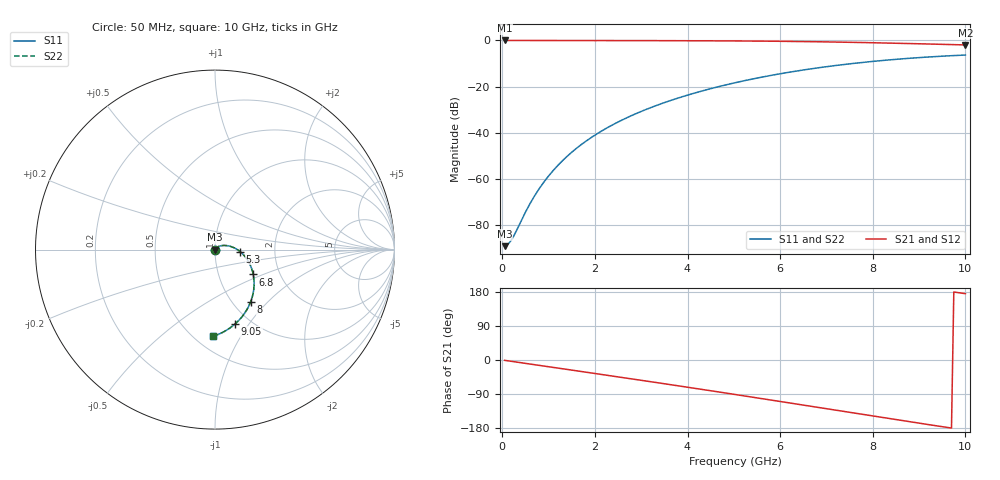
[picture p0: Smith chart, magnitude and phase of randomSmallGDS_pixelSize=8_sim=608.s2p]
! freq	dB(S11)	phase(S11)	dB(S12)	phase(S12)
!  dB(S21)	phase(S21)	dB(S22)	phase(S22)
!S-par simulation data
#  GHz  S  DB  R 50
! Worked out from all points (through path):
!   200 points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, 50 MHz to 10 GHz, reference 50 ohm
!   highest |S21| = 0.00 dB at 50 MHz (marker M1); lowest = -1.9 dB at 10 GHz (marker M2)
!   group delay of S21, straight-line fit = 51.8 ps
!   lowest |S11| = -89.0 dB at 50 MHz (marker M3), VSWR 1.00, Z = 50 + j0.000643 ohm
!   |S11| at or under -10 dB: start of sweep to 7.552 GHz
!   |S22| runs from -89.0 to -6.3 dB; largest |S21 - S12| = 0
!   S11 on the Smith chart (normalised r, x): 50 MHz: 1.00, +0.00; 5.3 GHz: 1.32, -0.03; 6.8 GHz: 1.47, -0.43; 8 GHz: 1.21, -0.80; 9.05 GHz: 0.85, -0.86; 10 GHz: 0.61, -0.77
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0.05  -88.99 10.4  -0.00 -0.9  -0.00 -0.9  -88.99 10.4
0.35  -80.45 64.9  -0.01 -6.3  -0.01 -6.3  -80.45 64.8
0.65  -68.79 77.9  -0.01 -11.6  -0.01 -11.6  -68.79 77.8
0.8  -64.03 78.1  -0.02 -14.3  -0.02 -14.3  -64.03 78.1
0.95  -59.89 77.0  -0.02 -16.9  -0.02 -16.9  -59.89 76.9
1.3  -52.02 71.9  -0.03 -23.1  -0.03 -23.1  -52.02 71.8
1.75  -44.39 63.5  -0.04 -31.1  -0.04 -31.1  -44.39 63.5
2.1  -39.71 56.7  -0.04 -37.4  -0.04 -37.4  -39.71 56.7
2.5  -35.28 48.9  -0.05 -44.5  -0.05 -44.5  -35.28 48.9
2.95  -31.11 40.2  -0.06 -52.6  -0.06 -52.6  -31.11 40.1
3.4  -27.60 31.5  -0.08 -60.8  -0.08 -60.8  -27.60 31.5
4.25  -22.20 15.5  -0.13 -76.4  -0.13 -76.4  -22.20 15.4
5.05  -18.19 0.3  -0.21 -91.4  -0.21 -91.4  -18.19 0.3
5.3  -17.10 -4.4  -0.24 -96.1  -0.24 -96.1  -17.10 -4.4
6  -14.41 -17.8  -0.36 -109.5  -0.36 -109.5  -14.41 -17.8
6.7  -12.18 -31.1  -0.53 -122.9  -0.53 -122.9  -12.18 -31.1
6.8  -11.89 -33.0  -0.56 -124.9  -0.56 -124.9  -11.89 -33.0
7.4  -10.35 -44.4  -0.75 -136.4  -0.75 -136.4  -10.35 -44.4
8  -9.06 -55.7  -0.98 -147.9  -0.98 -147.9  -9.06 -55.7
8.35  -8.42 -62.1  -1.13 -154.5  -1.13 -154.5  -8.42 -62.2
9.05  -7.35 -74.9  -1.46 -167.7  -1.46 -167.7  -7.35 -74.9
10  -6.31 -91.6  -1.93 175.0  -1.93 175.0  -6.31 -91.6
